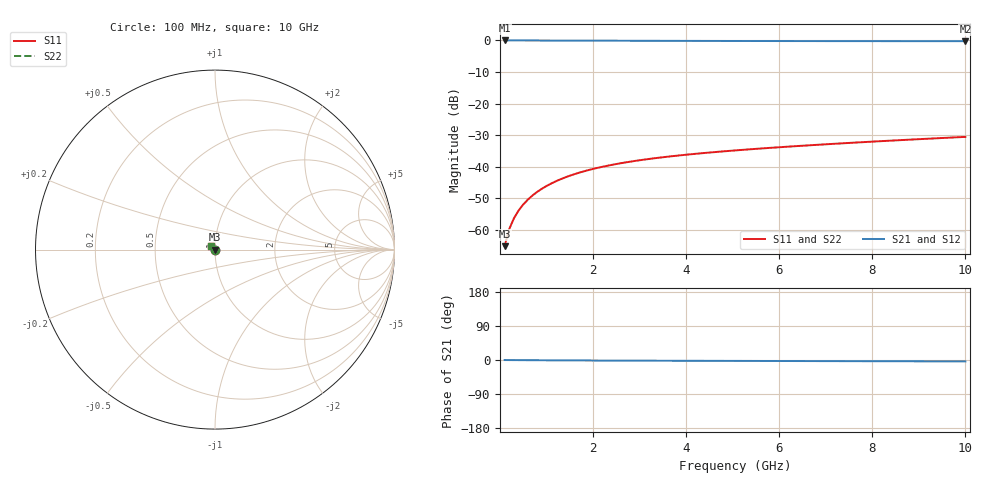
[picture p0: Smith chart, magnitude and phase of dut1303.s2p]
! Touchstone file exported from HFSS 2024.1.0
!  File:  C:/UserFiles/LocalFiles/RDL_TSV_Batchsim/temp_TSV1_1303_1780372577.aedt
!  Generated:  12:03:15 PM Jun  2, 2026
!  Design:  TSV1
!  Project:  temp_TSV1_1303_1780372577
!  Setup:  Setup1
!  Solution:  Sweep
! Variables:
!  dtsv = 6.99um
!  hbump = 3um
!  htsv = 50.62um
!  lrdl = 252.1521522um
!  p = 40
!  p1 = 56.2um
!  t = 500um
!  trdl = 3um
!  wrdl = 24.89489489um
# GHz S MA R 50.000000
! Terminal data exported
! Port[1] = TSV22_T1
! Port[2] = TSV22_T2
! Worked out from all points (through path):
!   100 points, 100 MHz to 10 GHz, reference 50 ohm
!   highest |S21| = 0.00 dB at 100 MHz (marker M1); lowest = -0.2 dB at 10 GHz (marker M2)
!   lowest |S11| = -65.2 dB at 100 MHz (marker M3), VSWR 1.00, Z = 50 - j0.0512 ohm
!   |S11| at or under -10 dB: start of sweep to end of sweep
!   |S22| runs from -65.2 to -30.6 dB; largest |S21 - S12| = 2.1e-15
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0.1  0.0005506 -68.4  0.9997 -0.1  0.9997 -0.1  0.0005506 -68.4
! Gamma 0 0 0 0
! Port Impedance 50 0 50 0
0.2  0.001029 -82.6  0.9997 -0.2  0.9997 -0.2  0.001029 -82.6
0.3  0.001523 -89.4  0.9995 -0.2  0.9995 -0.2  0.001523 -89.4
0.4  0.002019 -94.0  0.9994 -0.3  0.9994 -0.3  0.002019 -94.0
0.5  0.002516 -97.9  0.9992 -0.4  0.9992 -0.4  0.002516 -97.9
0.6  0.003011 -101.2  0.9989 -0.5  0.9989 -0.5  0.003011 -101.2
0.7  0.003502 -104.3  0.9986 -0.5  0.9986 -0.5  0.003502 -104.3
0.8  0.003989 -107.1  0.9983 -0.6  0.9983 -0.6  0.003989 -107.1
0.9  0.004469 -109.9  0.9979 -0.7  0.9979 -0.7  0.004469 -109.9
1.1  0.00541 -115.1  0.9971 -0.8  0.9971 -0.8  0.00541 -115.1
1.4  0.006759 -122.4  0.9958 -1.0  0.9958 -1.0  0.006759 -122.4
1.6  0.007615 -127.0  0.9948 -1.1  0.9948 -1.1  0.007615 -127.0
1.8  0.008434 -131.4  0.9938 -1.2  0.9938 -1.2  0.008434 -131.4
2.1  0.009594 -137.7  0.9923 -1.4  0.9923 -1.4  0.009594 -137.7
2.5  0.01102 -145.5  0.9902 -1.6  0.9902 -1.6  0.01102 -145.5
2.9  0.01233 -152.6  0.9883 -1.7  0.9883 -1.7  0.01233 -152.6
3.4  0.01383 -160.8  0.9861 -1.9  0.9861 -1.9  0.01383 -160.8
4.2  0.01599 -172.2  0.9831 -2.2  0.9831 -2.2  0.01599 -172.2
5.1  0.01821 177.1  0.9805 -2.4  0.9805 -2.4  0.01821 177.1
6.7  0.02194 162.1  0.9773 -2.8  0.9773 -2.8  0.02194 162.1
8.4  0.02587 150.2  0.9751 -3.3  0.9751 -3.3  0.02587 150.2
10  0.02967 141.6  0.9736 -3.7  0.9736 -3.7  0.02967 141.6
